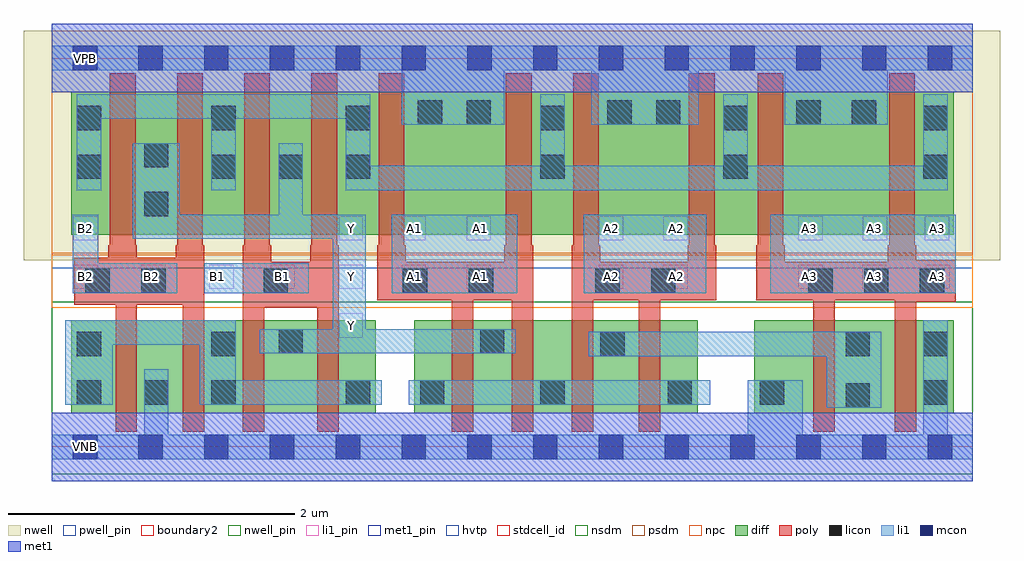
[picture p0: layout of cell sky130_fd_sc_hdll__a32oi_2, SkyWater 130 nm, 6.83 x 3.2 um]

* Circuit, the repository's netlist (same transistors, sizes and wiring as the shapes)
* Copyright 2020 The SkyWater PDK Authors
*
* Licensed under the Apache License, Version 2.0 (the "License");
* you may not use this file except in compliance with the License.
* You may obtain a copy of the License at
*
*     https://www.apache.org/licenses/LICENSE-2.0
*
* Unless required by applicable law or agreed to in writing, software
* distributed under the License is distributed on an "AS IS" BASIS,
* WITHOUT WARRANTIES OR CONDITIONS OF ANY KIND, either express or implied.
* See the License for the specific language governing permissions and
* limitations under the License.
*
* SPDX-License-Identifier: Apache-2.0

.SUBCKT sky130_fd_sc_hdll__a32oi_2 A1 A2 A3 B1 B2 VGND VNB VPB VPWR Y
*.PININFO A1:I A2:I A3:I B1:I B2:I VGND:I VNB:I VPB:I VPWR:I Y:O
MMPA0 pndA A1 VPWR VPB sky130_fd_pr__pfet_01v8_hvt m=2 w=1.0U l=0.18U mult=1 sa=0.265
+ sb=0.265 sd=0.28 area=0.063 perim=1.14
MMPA1 pndA A2 VPWR VPB sky130_fd_pr__pfet_01v8_hvt m=2 w=1.0U l=0.18U mult=1 sa=0.265
+ sb=0.265 sd=0.28 area=0.063 perim=1.14
MMPA2 pndA A3 VPWR VPB sky130_fd_pr__pfet_01v8_hvt m=2 w=1.0U l=0.18U mult=1 sa=0.265
+ sb=0.265 sd=0.28 area=0.063 perim=1.14
MMPB0 Y B1 pndA VPB sky130_fd_pr__pfet_01v8_hvt m=2 w=1.0U l=0.18U mult=1 sa=0.265
+ sb=0.265 sd=0.28 area=0.063 perim=1.14
MMPB1 Y B2 pndA VPB sky130_fd_pr__pfet_01v8_hvt m=2 w=1.0U l=0.18U mult=1 sa=0.265
+ sb=0.265 sd=0.28 area=0.063 perim=1.14
MMNA0 Y A1 sndA1 VNB sky130_fd_pr__nfet_01v8 m=2 w=0.65U l=0.15U mult=1 sa=0.265
+ sb=0.265 sd=0.28 area=0.063 perim=1.14
MMNA1 sndA1 A2 sndA2 VNB sky130_fd_pr__nfet_01v8 m=2 w=0.65U l=0.15U mult=1 sa=0.265
+ sb=0.265 sd=0.28 area=0.063 perim=1.14
MMNA2 sndA2 A3 VGND VNB sky130_fd_pr__nfet_01v8 m=2 w=0.65U l=0.15U mult=1 sa=0.265
+ sb=0.265 sd=0.28 area=0.063 perim=1.14
MMNB0 Y B1 sndB1 VNB sky130_fd_pr__nfet_01v8 m=2 w=0.65U l=0.15U mult=1 sa=0.265
+ sb=0.265 sd=0.28 area=0.063 perim=1.14
MMNB1 sndB1 B2 VGND VNB sky130_fd_pr__nfet_01v8 m=2 w=0.65U l=0.15U mult=1 sa=0.265
+ sb=0.265 sd=0.28 area=0.063 perim=1.14
.ENDS sky130_fd_sc_hdll__a32oi_2

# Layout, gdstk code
import gdstk
lib = gdstk.Library(unit=1e-6, precision=1e-09)
def R(c, l, rs):  # rectangles x0, y0, x1, y1
    for r in rs: c.add(gdstk.rectangle(r[:2], r[2:], *l))
def A(c, l, x, y, w, h, nx, ny, dx, dy):  # array of equal rectangles
    R(c, l, [(x+i*dx, y+j*dy, x+i*dx+w, y+j*dy+h) for i in range(nx) for j in range(ny)])
def P(c, l, *ps):  # polygons
    for p in ps: c.add(gdstk.Polygon(p, *l))
nwell_pin = (64, 16)
nwell = (64, 20)
diff = (65, 20)
poly = (66, 20)
licon = (66, 44)
li1_pin = (67, 16)
li1 = (67, 20)
mcon = (67, 44)
met1_pin = (68, 16)
met1 = (68, 20)
hvtp = (78, 44)
stdcell_id = (81, 4)
nsdm = (93, 44)
psdm = (94, 20)
npc = (95, 20)
pwell_pin = (122, 16)
boundary2 = (236, 0)

sky130_fd_sc_hdll__a32oi = lib.new_cell('sky130_fd_sc_hdll__a32oi_2')
R(sky130_fd_sc_hdll__a32oi, nwell_pin, [(0.15,2.635,0.32,2.805)])
R(sky130_fd_sc_hdll__a32oi, nwell, [(-0.195,1.305,6.63,2.91)])
R(sky130_fd_sc_hdll__a32oi, diff, [(0.135,0.235,2.265,0.885), (2.535,0.235,4.515,0.885), (4.91,0.235,6.305,0.885), (0.135,1.485,6.305,2.485)])
P(sky130_fd_sc_hdll__a32oi, poly, [(1.065,1.41),(1.055,1.41),(1.055,2.615),(0.875,2.615),(0.875,1.41),(0.865,1.41),(0.865,1.325),(0.595,1.325),(0.595,1.41),(0.585,1.41),(0.585,2.615),(0.405,2.615),(0.405,1.41),(0.395,1.41),(0.395,1.325),(0.155,1.325),(0.155,0.995),(0.445,0.995),(0.445,0.105),(0.595,0.105),(0.595,0.995),(0.915,0.995),(0.915,0.105),(1.065,0.105)],
  [(2.005,1.41),(1.995,1.41),(1.995,2.615),(1.815,2.615),(1.815,1.41),(1.805,1.41),(1.805,1.295),(1.535,1.295),(1.535,1.41),(1.525,1.41),(1.525,2.615),(1.345,2.615),(1.345,1.41),(1.335,1.41),(1.335,0.105),(1.485,0.105),(1.485,0.975),(1.855,0.975),(1.855,0.105),(2.005,0.105)],
  [(3.365,1.41),(3.355,1.41),(3.355,2.615),(3.175,2.615),(3.175,1.41),(3.165,1.41),(3.165,1.295),(2.475,1.295),(2.475,1.41),(2.465,1.41),(2.465,2.615),(2.285,2.615),(2.285,1.41),(2.275,1.41),(2.275,1.025),(2.795,1.025),(2.795,0.105),(2.945,0.105),(2.945,1.025),(3.215,1.025),(3.215,0.105),(3.365,0.105)],
  [(4.645,1.41),(4.635,1.41),(4.635,2.615),(4.455,2.615),(4.455,1.41),(4.445,1.41),(4.445,1.295),(3.835,1.295),(3.835,1.41),(3.825,1.41),(3.825,2.615),(3.645,2.615),(3.645,1.41),(3.635,1.41),(3.635,0.105),(3.785,0.105),(3.785,1.025),(4.105,1.025),(4.105,0.105),(4.255,0.105),(4.255,1.025),(4.645,1.025)],
  [(6.32,1.305),(6.045,1.305),(6.045,1.41),(6.035,1.41),(6.035,2.615),(5.855,2.615),(5.855,1.41),(5.845,1.41),(5.845,1.295),(5.125,1.295),(5.125,1.41),(5.115,1.41),(5.115,2.615),(4.935,2.615),(4.935,1.41),(4.925,1.41),(4.925,1.025),(5.325,1.025),(5.325,0.105),(5.475,0.105),(5.475,1.025),(5.895,1.025),(5.895,0.105),(6.045,0.105),(6.045,1.015),(6.32,1.015)])
A(sky130_fd_sc_hdll__a32oi, licon, 0.175, 0.295, 0.17, 0.17, 3, 1, 0.47, 0)
A(sky130_fd_sc_hdll__a32oi, licon, 5.29, 1.075, 0.17, 0.17, 3, 1, 0.39, 0)
A(sky130_fd_sc_hdll__a32oi, licon, 1.115, 1.875, 0.17, 0.17, 3, 1, 0.47, 0)
A(sky130_fd_sc_hdll__a32oi, licon, 0.175, 2.215, 0.17, 0.17, 3, 1, 0.94, 0)
R(sky130_fd_sc_hdll__a32oi, licon, [(5.55,0.275,5.72,0.445), (2.055,0.295,2.225,0.465), (2.575,0.295,2.745,0.465), (3.415,0.295,3.585,0.465), (4.305,0.295,4.475,0.465), (4.95,0.295,5.12,0.465), (6.095,0.295,6.265,0.465), (0.175,0.635,0.345,0.805), (1.115,0.635,1.285,0.805), (3.835,0.635,4.005,0.805), (5.55,0.635,5.72,0.805), (6.095,0.635,6.265,0.805), (1.585,0.655,1.755,0.825), (2.995,0.655,3.165,0.825), (0.235,1.075,0.405,1.245), (0.625,1.075,0.795,1.245), (1.48,1.075,1.65,1.245), (2.455,1.075,2.625,1.245), (2.915,1.075,3.085,1.245), (3.8,1.075,3.97,1.245), (4.19,1.075,4.36,1.245), (0.645,1.615,0.815,1.785), (0.175,1.875,0.345,2.045), (3.415,1.875,3.585,2.045), (4.695,1.875,4.865,2.045), (6.095,1.875,6.265,2.045), (0.645,1.955,0.815,2.125), (3.415,2.215,3.585,2.385), (4.695,2.215,4.865,2.385), (6.095,2.215,6.265,2.385), (2.56,2.255,2.73,2.425), (2.9,2.255,3.07,2.425), (3.885,2.255,4.055,2.425), (4.225,2.255,4.395,2.425), (5.205,2.255,5.375,2.425), (5.595,2.255,5.765,2.425)])
A(sky130_fd_sc_hdll__a32oi, li1_pin, 2.005, 0.765, 0.17, 0.17, 1, 3, 0, 0.34)
A(sky130_fd_sc_hdll__a32oi, li1_pin, 0.15, 1.105, 0.17, 0.17, 3, 1, 0.475, 0)
A(sky130_fd_sc_hdll__a32oi, li1_pin, 5.22, 1.105, 0.17, 0.17, 3, 1, 0.445, 0)
R(sky130_fd_sc_hdll__a32oi, li1_pin, [(1.53,1.105,1.7,1.275), (2.445,1.105,2.615,1.275), (2.9,1.105,3.07,1.275), (3.825,1.105,3.995,1.275), (4.275,1.105,4.445,1.275), (0.15,1.445,0.32,1.615), (2.445,1.445,2.615,1.615), (2.9,1.445,3.07,1.615), (3.825,1.445,3.995,1.615), (4.275,1.445,4.445,1.615), (5.22,1.445,5.39,1.615), (5.67,1.445,5.84,1.615), (6.105,1.445,6.275,1.615)])
R(sky130_fd_sc_hdll__a32oi, li1, [(2.495,0.295,4.605,0.465), (1.065,1.075,1.795,1.285), (2.375,1.075,3.255,1.625), (3.72,1.075,4.575,1.625), (5.025,1.075,6.32,1.625)])
P(sky130_fd_sc_hdll__a32oi, li1, [(6.44,0.085),(6.265,0.085),(6.265,0.885),(6.095,0.885),(6.095,0.085),(5.25,0.085),(5.25,0.465),(4.865,0.465),(4.865,0.085),(0.815,0.085),(0.815,0.545),(0.645,0.545),(0.645,0.085),(0,0.085),(0,-0.085),(6.44,-0.085)],
  [(6.44,2.805),(0,2.805),(0,2.635),(2.445,2.635),(2.445,2.255),(3.165,2.255),(3.165,2.635),(3.77,2.635),(3.77,2.255),(4.525,2.255),(4.525,2.635),(5.125,2.635),(5.125,2.255),(5.845,2.255),(5.845,2.635),(6.44,2.635)],
  [(2.305,0.465),(1.285,0.465),(1.285,0.885),(0.095,0.885),(0.095,0.295),(0.425,0.295),(0.425,0.715),(1.035,0.715),(1.035,0.295),(2.305,0.295)],
  [(6.265,2.465),(6.095,2.465),(6.095,1.965),(4.865,1.965),(4.865,2.465),(4.695,2.465),(4.695,1.965),(3.585,1.965),(3.585,2.465),(3.415,2.465),(3.415,1.965),(2.225,1.965),(2.225,2.465),(0.175,2.465),(0.175,1.795),(0.345,1.795),(0.345,2.295),(1.115,2.295),(1.115,1.795),(1.285,1.795),(1.285,2.295),(2.055,2.295),(2.055,1.795),(6.265,1.795)],
  [(3.245,0.825),(2.195,0.825),(2.195,1.625),(1.755,1.625),(1.755,2.125),(1.585,2.125),(1.585,1.625),(0.895,1.625),(0.895,2.125),(0.565,2.125),(0.565,1.455),(1.965,1.455),(1.965,0.825),(1.455,0.825),(1.455,0.655),(3.245,0.655)],
  [(5.8,0.805),(3.755,0.805),(3.755,0.635),(5.42,0.635),(5.42,0.275),(5.8,0.275)],
  [(0.875,1.285),(0.325,1.285),(0.325,1.625),(0.145,1.625),(0.145,1.075),(0.875,1.075)])
A(sky130_fd_sc_hdll__a32oi, mcon, 0.145, -0.085, 0.17, 0.17, 14, 2, 0.46, 2.72)
R(sky130_fd_sc_hdll__a32oi, met1_pin, [(0.15,-0.085,0.32,0.085), (0.15,2.635,0.32,2.805)])
R(sky130_fd_sc_hdll__a32oi, met1, [(0,-0.24,6.44,0.24), (0,2.48,6.44,2.96)])
R(sky130_fd_sc_hdll__a32oi, hvtp, [(0,1.25,6.44,2.72)])
R(sky130_fd_sc_hdll__a32oi, stdcell_id, [(0,0,6.44,2.72)])
R(sky130_fd_sc_hdll__a32oi, nsdm, [(0,-0.19,6.44,1.015)])
R(sky130_fd_sc_hdll__a32oi, psdm, [(0,1.355,6.44,2.91)])
R(sky130_fd_sc_hdll__a32oi, npc, [(0,0.975,6.44,1.345)])
R(sky130_fd_sc_hdll__a32oi, pwell_pin, [(0.15,-0.085,0.32,0.085)])
R(sky130_fd_sc_hdll__a32oi, boundary2, [(0,0,6.44,2.72)])
sky130_fd_sc_hdll__a32oi.add(gdstk.Label('A2', (4.365,1.53), layer=67, texttype=5))
sky130_fd_sc_hdll__a32oi.add(gdstk.Label('A2', (4.365,1.19), layer=67, texttype=5))
sky130_fd_sc_hdll__a32oi.add(gdstk.Label('B2', (0.695,1.19), layer=67, texttype=5))
sky130_fd_sc_hdll__a32oi.add(gdstk.Label('A3', (5.3,1.19), layer=67, texttype=5))
sky130_fd_sc_hdll__a32oi.add(gdstk.Label('A3', (5.3,1.53), layer=67, texttype=5))
sky130_fd_sc_hdll__a32oi.add(gdstk.Label('A3', (5.75,1.19), layer=67, texttype=5))
sky130_fd_sc_hdll__a32oi.add(gdstk.Label('A3', (5.75,1.53), layer=67, texttype=5))
sky130_fd_sc_hdll__a32oi.add(gdstk.Label('A2', (3.915,1.19), layer=67, texttype=5))
sky130_fd_sc_hdll__a32oi.add(gdstk.Label('A2', (3.915,1.53), layer=67, texttype=5))
sky130_fd_sc_hdll__a32oi.add(gdstk.Label('A1', (2.535,1.19), layer=67, texttype=5))
sky130_fd_sc_hdll__a32oi.add(gdstk.Label('A1', (2.995,1.53), layer=67, texttype=5))
sky130_fd_sc_hdll__a32oi.add(gdstk.Label('A1', (2.535,1.53), layer=67, texttype=5))
sky130_fd_sc_hdll__a32oi.add(gdstk.Label('Y', (2.095,1.53), layer=67, texttype=5))
sky130_fd_sc_hdll__a32oi.add(gdstk.Label('A1', (2.995,1.19), layer=67, texttype=5))
sky130_fd_sc_hdll__a32oi.add(gdstk.Label('B1', (1.155,1.19), layer=67, texttype=5))
sky130_fd_sc_hdll__a32oi.add(gdstk.Label('Y', (2.095,0.85), layer=67, texttype=5))
sky130_fd_sc_hdll__a32oi.add(gdstk.Label('B2', (0.235,1.53), layer=67, texttype=5))
sky130_fd_sc_hdll__a32oi.add(gdstk.Label('Y', (2.095,1.19), layer=67, texttype=5))
sky130_fd_sc_hdll__a32oi.add(gdstk.Label('B1', (1.615,1.19), layer=67, texttype=5))
sky130_fd_sc_hdll__a32oi.add(gdstk.Label('B2', (0.235,1.19), layer=67, texttype=5))
sky130_fd_sc_hdll__a32oi.add(gdstk.Label('A3', (6.195,1.53), layer=67, texttype=5))
sky130_fd_sc_hdll__a32oi.add(gdstk.Label('A3', (6.195,1.19), layer=67, texttype=5))
sky130_fd_sc_hdll__a32oi.add(gdstk.Label('VNB', (0.235,0), layer=64, texttype=59))
sky130_fd_sc_hdll__a32oi.add(gdstk.Label('VPB', (0.235,2.72), layer=64, texttype=5))
sky130_fd_sc_hdll__a32oi.add(gdstk.Label('VGND', (0.235,0), layer=68, texttype=5))
sky130_fd_sc_hdll__a32oi.add(gdstk.Label('VPWR', (0.235,2.72), layer=68, texttype=5))
sky130_fd_sc_hdll__a32oi.add(gdstk.Label('a32oi_2', (0,0), layer=83, texttype=44))

lib.write_gds('sky130_fd_sc_hdll__a32oi_2.gds')
